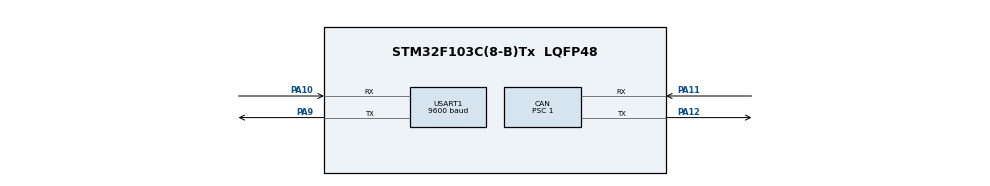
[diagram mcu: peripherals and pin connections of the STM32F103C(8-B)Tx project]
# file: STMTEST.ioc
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CAN.ABOM=ENABLE
CAN.BS1=CAN_BS1_13TQ
CAN.BS2=CAN_BS2_2TQ
CAN.CalculateBaudRate=500000
CAN.CalculateTimeBit=2000
CAN.CalculateTimeQuantum=125.0
CAN.NART=ENABLE
CAN.Prescaler=1
Mcu.Family=STM32F1
Mcu.Name=STM32F103C(8-B)Tx
Mcu.Package=LQFP48
NVIC.CAN1_RX1_IRQn=true\:0\:0\:false\:false\:true\:true\:true\:true
NVIC.CAN1_SCE_IRQn=true\:0\:0\:false\:false\:true\:true\:true\:true
NVIC.PriorityGroup=NVIC_PRIORITYGROUP_4
PA10.Mode=Asynchronous
PA10.Signal=USART1_RX
PA11.Mode=CAN_Activate
PA11.Signal=CAN_RX
PA12.Mode=CAN_Activate
PA12.Signal=CAN_TX
PA13.Mode=Serial_Wire
PA13.Signal=SYS_JTMS-SWDIO
PA14.Mode=Serial_Wire
PA14.Signal=SYS_JTCK-SWCLK
PA9.Mode=Asynchronous
PA9.Signal=USART1_TX
ProjectManager.HeapSize=0x200
ProjectManager.StackSize=0x400
ProjectManager.TargetToolchain=STM32CubeIDE
RCC.APB1Freq_Value=8000000
RCC.APB2Freq_Value=8000000
USART1.BaudRate=9600
USART1.VirtualMode=VM_ASYNC
board=custom

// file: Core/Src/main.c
/* USER CODE BEGIN Header */
/**
  ******************************************************************************
  * @file           : main.c
  * @brief          : Main program body
  ******************************************************************************
  * @attention
  *
  * Copyright (c) 2025 STMicroelectronics.
  * All rights reserved.
  *
  * This software is licensed under terms that can be found in the LICENSE file
  * in the root directory of this software component.
  * If no LICENSE file comes with this software, it is provided AS-IS.
  *
  ******************************************************************************
  */
/* USER CODE END Header */
#include "main.h"

/* USER CODE BEGIN Includes */
#include <stdio.h>
/* USER CODE END Includes */

CAN_HandleTypeDef hcan;

UART_HandleTypeDef huart1;

/* USER CODE BEGIN PV */
CAN_FilterTypeDef Scanfilter;
CAN_RxHeaderTypeDef RxHeader;
uint8_t RxData[8] = {0,0,0,0,0,0,0,0};
/* USER CODE END PV */

void SystemClock_Config(void);
static void MX_GPIO_Init(void);
static void MX_CAN_Init(void);
static void MX_USART1_UART_Init(void);
/* USER CODE BEGIN PFP */

void HAL_CAN_RxFifo0MsgPendingCallback(CAN_HandleTypeDef *hcan)
{
  /* Prevent unused argument(s) compilation warning */
  HAL_CAN_GetRxMessage(&hcan, CAN_RX_FIFO0,&RxHeader, RxData);
  /* NOTE : This function Should not be modified, when the callback is needed,
            the HAL_CAN_RxFifo0MsgPendingCallback could be implemented in the
            user file
   */
  printf("%u, ",RxData[0]);
  printf("%u, ",RxData[1]);
  printf("%u, ",RxData[2]);
  printf("%u \r\n",RxData[3]);
}
#ifdef PRINTF_OVERLOAD
// Use the handle for the UART you configured (e.g., huart1)
extern UART_HandleTypeDef huart1;
int _write(int file, char *data, int len) {
    // Transmit data via UART
    HAL_UART_Transmit(&huart1, (uint8_t*)data, len, HAL_MAX_DELAY);
    return len;
}
#endif
void CAN_ReceiveMessage(CAN_HandleTypeDef *hcan)
{
	if (HAL_CAN_GetRxFifoFillLevel(&hcan, CAN_RX_FIFO0) > 0) {
	    // FIFO contains messages
	    CAN_RxHeaderTypeDef rxHeader;
	    uint8_t rxData[8];

	    if (HAL_CAN_GetRxMessage(&hcan, CAN_RX_FIFO0, &rxHeader, rxData) == HAL_OK) {
	        // Process received message
	        printf("Message received: %s\n", rxData);
	    }
	} else {
	    printf("No message received\n");
	}
	uint32_t error = HAL_CAN_GetError(&hcan);
	printf("CAN Error: 0x%08lX\r\n", error);
}
/* USER CODE END PFP */

int main(void)
{

  /* MCU Configuration--------------------------------------------------------*/

  /* Reset of all peripherals, Initializes the Flash interface and the Systick. */
  HAL_Init();

  /* Configure the system clock */
  SystemClock_Config();

  /* Initialize all configured peripherals */
  MX_GPIO_Init();
  MX_CAN_Init();
  MX_USART1_UART_Init();
  /* USER CODE BEGIN 2 */
  Scanfilter.FilterActivation = CAN_FILTER_ENABLE;
  Scanfilter.FilterBank = 0;
  Scanfilter.FilterFIFOAssignment = CAN_FILTER_FIFO0;
  Scanfilter.FilterIdHigh = 0x0000;
  Scanfilter.FilterIdLow = 0x0000;
  Scanfilter.FilterMaskIdHigh = 0x0000;
  Scanfilter.FilterMaskIdLow = 0x0000;
  Scanfilter.FilterMode = CAN_FILTERMODE_IDLIST; //mask mode?
  Scanfilter.FilterScale = CAN_FILTERSCALE_32BIT;
  Scanfilter.SlaveStartFilterBank = 14; //<-- not needed for single instances

  if(HAL_CAN_ConfigFilter(&hcan, &Scanfilter) != HAL_OK) {
	  printf("cannot configure CAN filter \n\r");
  } else {
	  printf("CAN filter configured \n\r");
  }
  if(HAL_CAN_Start(&hcan) != HAL_OK) {
	  printf("cannot start CAN \n\r");
  } else {
	  printf("CAN started \n\r");
  }
  /* USER CODE END 2 */

  /* Infinite loop */
  /* USER CODE BEGIN WHILE */
  while (1)
  {
//	  uint32_t RxFIFO_level = HAL_CAN_GetRxFifoFillLevel(&hcan, CAN_RX_FIFO0);
//	  printf("%u \r\n", RxFIFO_level);

//	  HAL_CAN_RxFifo0MsgPendingCallback(&hcan);
	  CAN_ReceiveMessage(&hcan);
//	  printf("hello world! \n\r");
    /* USER CODE END WHILE */

  }
}

void SystemClock_Config(void)
{
  RCC_OscInitTypeDef RCC_OscInitStruct = {0};
  RCC_ClkInitTypeDef RCC_ClkInitStruct = {0};

  /** Initializes the RCC Oscillators according to the specified parameters
  * in the RCC_OscInitTypeDef structure.
  */
  RCC_OscInitStruct.OscillatorType = RCC_OSCILLATORTYPE_HSI;
  RCC_OscInitStruct.HSIState = RCC_HSI_ON;
  RCC_OscInitStruct.HSICalibrationValue = RCC_HSICALIBRATION_DEFAULT;
  RCC_OscInitStruct.PLL.PLLState = RCC_PLL_NONE;
  if (HAL_RCC_OscConfig(&RCC_OscInitStruct) != HAL_OK)
  {
    Error_Handler();
  }

  /** Initializes the CPU, AHB and APB buses clocks
  */
  RCC_ClkInitStruct.ClockType = RCC_CLOCKTYPE_HCLK|RCC_CLOCKTYPE_SYSCLK
                              |RCC_CLOCKTYPE_PCLK1|RCC_CLOCKTYPE_PCLK2;
  RCC_ClkInitStruct.SYSCLKSource = RCC_SYSCLKSOURCE_HSI;
  RCC_ClkInitStruct.AHBCLKDivider = RCC_SYSCLK_DIV1;
  RCC_ClkInitStruct.APB1CLKDivider = RCC_HCLK_DIV1;
  RCC_ClkInitStruct.APB2CLKDivider = RCC_HCLK_DIV1;

  if (HAL_RCC_ClockConfig(&RCC_ClkInitStruct, FLASH_LATENCY_0) != HAL_OK)
  {
    Error_Handler();
  }
}

static void MX_CAN_Init(void)
{

  hcan.Instance = CAN1;
  hcan.Init.Prescaler = 1;
  hcan.Init.Mode = CAN_MODE_NORMAL;
  hcan.Init.SyncJumpWidth = CAN_SJW_1TQ;
  hcan.Init.TimeSeg1 = CAN_BS1_13TQ;
  hcan.Init.TimeSeg2 = CAN_BS2_2TQ;
  hcan.Init.TimeTriggeredMode = DISABLE;
  hcan.Init.AutoBusOff = ENABLE;
  hcan.Init.AutoWakeUp = DISABLE;
  hcan.Init.AutoRetransmission = ENABLE;
  hcan.Init.ReceiveFifoLocked = DISABLE;
  hcan.Init.TransmitFifoPriority = DISABLE;
  if (HAL_CAN_Init(&hcan) != HAL_OK)
  {
    Error_Handler();
  }

}

static void MX_USART1_UART_Init(void)
{

  huart1.Instance = USART1;
  huart1.Init.BaudRate = 9600;
  huart1.Init.WordLength = UART_WORDLENGTH_8B;
  huart1.Init.StopBits = UART_STOPBITS_1;
  huart1.Init.Parity = UART_PARITY_NONE;
  huart1.Init.Mode = UART_MODE_TX_RX;
  huart1.Init.HwFlowCtl = UART_HWCONTROL_NONE;
  huart1.Init.OverSampling = UART_OVERSAMPLING_16;
  if (HAL_UART_Init(&huart1) != HAL_OK)
  {
    Error_Handler();
  }

}

static void MX_GPIO_Init(void)
{

  /* GPIO Ports Clock Enable */
  __HAL_RCC_GPIOA_CLK_ENABLE();

}

void Error_Handler(void)
{
  __disable_irq();
  while (1)
  {
  }
}
